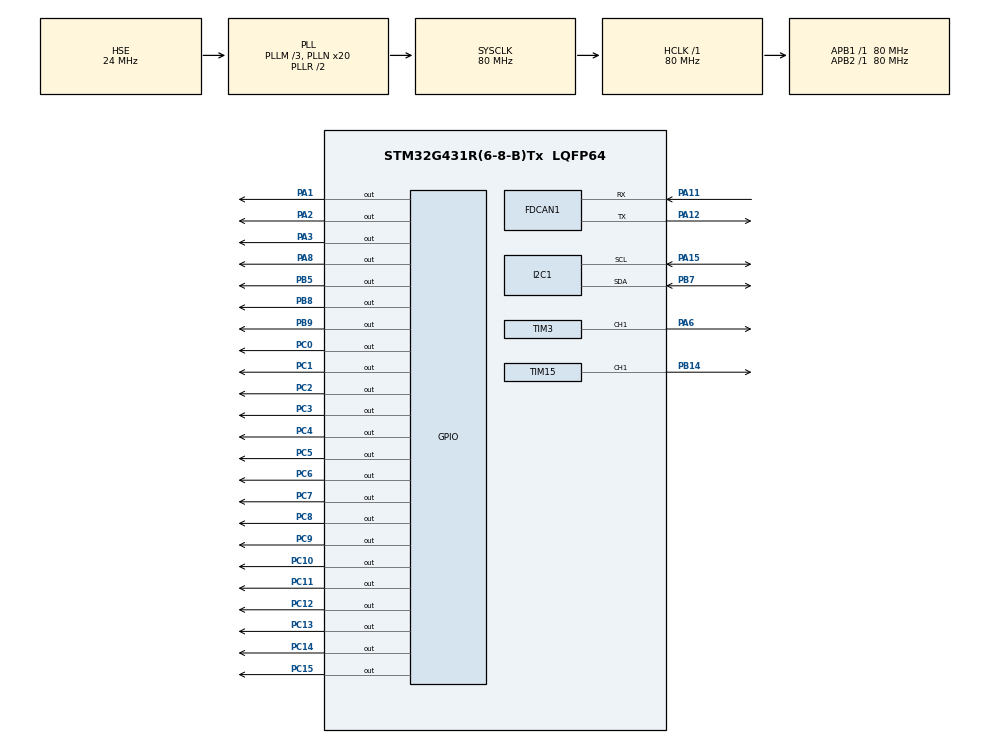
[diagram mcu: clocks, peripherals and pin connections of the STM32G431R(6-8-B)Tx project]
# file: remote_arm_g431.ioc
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FDCAN1.CalculateBaudRateNominal=125000
FDCAN1.CalculateTimeBitNominal=8000
FDCAN1.CalculateTimeQuantumNominal=200.0
FDCAN1.DataPrescaler=16
FDCAN1.DataSyncJumpWidth=10
FDCAN1.DataTimeSeg1=29
FDCAN1.DataTimeSeg2=10
FDCAN1.Mode=FDCAN_MODE_NORMAL
FDCAN1.NominalPrescaler=16
FDCAN1.NominalSyncJumpWidth=10
FDCAN1.NominalTimeSeg1=29
FDCAN1.NominalTimeSeg2=10
FDCAN1.StdFiltersNbr=1
FDCAN1.TxFifoQueueMode=FDCAN_TX_FIFO_OPERATION
FREERTOS.Queues01=mpu6050Queue,3,float,0,Dynamic,NULL,NULL
FREERTOS.Tasks01=defaultTask,0,128,StartDefaultTask,Default,NULL,Dynamic,NULL,NULL;DHT11Read,2,128,DHT11ReadEntry,Default,NULL,Dynamic,NULL,NULL;CANTask,1,128,CANTaskEntry,Default,NULL,Dynamic,NULL,NULL;ControlTask,0,128,ControlTaskEntry,Default,NULL,Dynamic,NULL,NULL
FREERTOS.configMAX_PRIORITIES=32
FREERTOS.configTOTAL_HEAP_SIZE=5120
I2C1.Timing=0x10D19CE4
Mcu.Family=STM32G4
Mcu.Name=STM32G431R(6-8-B)Tx
Mcu.Package=LQFP64
NVIC.PriorityGroup=NVIC_PRIORITYGROUP_4
NVIC.TIM1_TRG_COM_TIM17_IRQn=true\:15\:0\:false\:false\:true\:false\:false\:true\:true
NVIC.TimeBase=TIM1_TRG_COM_TIM17_IRQn
NVIC.TimeBaseIP=TIM17
PA1.Signal=GPIO_Output
PA11.Mode=FDCAN_Activate
PA11.Signal=FDCAN1_RX
PA12.Mode=FDCAN_Activate
PA12.Signal=FDCAN1_TX
PA13.Mode=Serial_Wire
PA13.Signal=SYS_JTMS-SWDIO
PA14.Mode=Serial_Wire
PA14.Signal=SYS_JTCK-SWCLK
PA15.Mode=I2C
PA15.Signal=I2C1_SCL
PA2.Signal=GPIO_Output
PA3.Signal=GPIO_Output
PA6.Signal=S_TIM3_CH1
PA8.Signal=GPIO_Output
PB14.Signal=S_TIM15_CH1
PB5.Signal=GPIO_Output
PB7.Mode=I2C
PB7.Signal=I2C1_SDA
PB8-BOOT0.Signal=GPIO_Output
PB9.Signal=GPIO_Output
PC0.Signal=GPIO_Output
PC1.Signal=GPIO_Output
PC10.Signal=GPIO_Output
PC11.Signal=GPIO_Output
PC12.Signal=GPIO_Output
PC13.Signal=GPIO_Output
PC14-OSC32_IN.Signal=GPIO_Output
PC15-OSC32_OUT.Signal=GPIO_Output
PC2.Signal=GPIO_Output
PC3.Signal=GPIO_Output
PC4.Signal=GPIO_Output
PC5.Signal=GPIO_Output
PC6.Signal=GPIO_Output
PC7.Signal=GPIO_Output
PC8.Signal=GPIO_Output
PC9.Signal=GPIO_Output
PF0-OSC_IN.Mode=HSE-External-Oscillator
PF0-OSC_IN.Signal=RCC_OSC_IN
PF1-OSC_OUT.Mode=HSE-External-Oscillator
PF1-OSC_OUT.Signal=RCC_OSC_OUT
ProjectManager.HeapSize=0x200
ProjectManager.StackSize=0x400
ProjectManager.TargetToolchain=MDK-ARM V5.32
RCC.ADC12Freq_Value=80000000
RCC.AHBFreq_Value=80000000
RCC.APB1Freq_Value=80000000
RCC.APB1TimFreq_Value=80000000
RCC.APB2Freq_Value=80000000
RCC.APB2TimFreq_Value=80000000
RCC.CortexFreq_Value=80000000
RCC.EXTERNAL_CLOCK_VALUE=12288000
RCC.HCLKFreq_Value=80000000
RCC.HSE_VALUE=24000000
RCC.HSI48_VALUE=48000000
RCC.HSI_VALUE=16000000
RCC.LSE_VALUE=32768
RCC.PLLM=RCC_PLLM_DIV3
RCC.PLLN=20
RCC.PLLSourceVirtual=RCC_PLLSOURCE_HSE
RCC.SYSCLKFreq_VALUE=80000000
RCC.SYSCLKSource=RCC_SYSCLKSOURCE_PLLCLK
RCC.USBFreq_Value=80000000
RCC.VCOOutputFreq_Value=160000000
SH.S_TIM15_CH1.0=TIM15_CH1,PWM Generation1 CH1
SH.S_TIM3_CH1.0=TIM3_CH1,PWM Generation1 CH1
TIM15.Channel-PWM\ Generation1\ CH1=TIM_CHANNEL_1
TIM15.PeriodNoDither=20000-1
TIM15.Prescaler=80-1
TIM3.Channel-PWM\ Generation1\ CH1=TIM_CHANNEL_1
TIM3.PeriodNoDither=2000-1
TIM3.Prescaler=800-1
VP_FREERTOS_VS_CMSIS_V1.Mode=CMSIS_V1
VP_SYS_VS_DBSignals.Mode=DisableDeadBatterySignals
VP_SYS_VS_tim17.Mode=TIM17
VP_TIM15_VS_ClockSourceINT.Mode=Internal
VP_TIM3_VS_ClockSourceINT.Mode=Internal
board=custom

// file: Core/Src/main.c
/* USER CODE BEGIN Header */
/**
  ******************************************************************************
  * @file           : main.c
  * @brief          : Main program body
  ******************************************************************************
  * @attention
  *
  * Copyright (c) 2025 STMicroelectronics.
  * All rights reserved.
  *
  * This software is licensed under terms that can be found in the LICENSE file
  * in the root directory of this software component.
  * If no LICENSE file comes with this software, it is provided AS-IS.
  *
  ******************************************************************************
  */
/* USER CODE END Header */
#include "main.h"
#include "cmsis_os.h"
#include "fdcan.h"
#include "i2c.h"
#include "tim.h"
#include "gpio.h"

void SystemClock_Config(void);
void MX_FREERTOS_Init(void);

/* USER CODE BEGIN 0 */
#include "lcd.h"
#include "MPU6050.h"
#include "DELAY.h"
#include "stdio.h"
#include "string.h"
#include "42Motor.h"
#include "math.h"
#define pi 3.1415
MAIN_Data main_data={0,0,{0},{0}};
MPU6050_Data mpu6050_data={0,0,0,0,0,0,0,0,0,0,0,0,0};
ANGLE_Data angle_data={0,0,0,0,0,0};
FDCAN_TX fdcan_tx={
	.hfdcan=&hfdcan1,
	.hfdcantx.IdType = FDCAN_STANDARD_ID,
	.hfdcantx.TxFrameType = FDCAN_DATA_FRAME,
	.hfdcantx.DataLength = 6,
	.hfdcantx.ErrorStateIndicator = FDCAN_ESI_ACTIVE,
	.hfdcantx.BitRateSwitch = FDCAN_BRS_OFF,
	.hfdcantx.FDFormat = FDCAN_CLASSIC_CAN,
	.hfdcantx.TxEventFifoControl = FDCAN_NO_TX_EVENTS,
	.hfdcantx.MessageMarker = 0,
	{0}
};
FDCAN_RX fdcan_rx;
uint8_t i2c_error;
void HAL_I2C_ErrorCallback(I2C_HandleTypeDef *hi2c);
uint8_t caculate(float x, float y, float z, float *ptheta)
{
	float L1 = 0.14; //杆长
	float L2 = 0.11;
	float L3 = 0.04;
	float alpha, beta, lp, Bx, By;
	Bx=x-L3; //这里设置γ为-90
	By=y;
	lp=Bx*Bx+By*By;
	if (sqrt(lp)>=L1+L2 || sqrt(lp)<=fabs(L1-L2))
		return 1;
	alpha = atan2(By,Bx);
	beta = acos((L1*L1+lp-L2*L2)/(2*L1*sqrt(lp))); //这里使用弧度制
	ptheta[0] = -(pi/2.0-alpha-beta);
	ptheta[1] = acos((L1*L1+L2*L2-lp)/(2*L1*L2))-pi;
	ptheta[2] = -ptheta[0] -ptheta[1]- pi/2.0;
	return 0;
}
/* USER CODE END 0 */

int main(void)
{

  /* MCU Configuration--------------------------------------------------------*/

  /* Reset of all peripherals, Initializes the Flash interface and the Systick. */
  HAL_Init();

  /* Configure the system clock */
  SystemClock_Config();

  /* Initialize all configured peripherals */
  MX_GPIO_Init();
  MX_I2C1_Init();
  MX_TIM15_Init();
  MX_TIM3_Init();
  MX_FDCAN1_Init();
  /* USER CODE BEGIN 2 */
  LCD_Init();
  LCD_SetBackColor(Black);
  LCD_SetTextColor(White);
  LCD_Clear(Black);
  do{
 	 main_data.ret=MPU6050_DMP_init();
	  sprintf(main_data.ch,"%d ",main_data.ret);
	  LCD_DisplayStringLine(Line0,main_data.ch);
	}while(main_data.ret);
	HAL_TIM_PWM_Start(&htim3,TIM_CHANNEL_1);
	Motoe_42Init();
	Motor_42_W_ENABLE(1);
	Motor_42_W_DIR(1);
  /* USER CODE END 2 */

  /* Call init function for freertos objects (in cmsis_os2.c) */
  MX_FREERTOS_Init();

  /* Start scheduler */
  osKernelStart();

  /* We should never get here as control is now taken by the scheduler */

  /* Infinite loop */
  while (1)
  {

    /* USER CODE BEGIN 3 */
	  MPU6050_DMP_Get_Date(&mpu6050_data.pitch,&mpu6050_data.roll,&mpu6050_data.yaw);
	/*数据校准*/
	  mpu6050_data.pitch=mpu6050_data.pitch-mpu6050_data.reset_pitch;
	  mpu6050_data.roll=mpu6050_data.roll-mpu6050_data.reset_roll;
	  mpu6050_data.yaw=mpu6050_data.yaw-mpu6050_data.reset_yaw;
	  sprintf(main_data.ch,"%.2f %.2f %.2f ",mpu6050_data.pitch,mpu6050_data.roll,mpu6050_data.yaw);
	  LCD_DisplayStringLine(Line1,main_data.ch);
	/*iic错误处理*/
	  if(HAL_I2C_GetError(&hi2c1)!=0){
		  i2c_error=HAL_I2C_GetError(&hi2c1);
	sprintf(main_data.ch,"%d ",i2c_error);
	LCD_DisplayStringLine(Line2,main_data.ch);
		  main_data.ret=0;
		  mpu6050_data.reset_pitch=mpu6050_data.pitch;
		  mpu6050_data.reset_roll=mpu6050_data.reset_roll;
		  mpu6050_data.reset_yaw=mpu6050_data.reset_yaw;
		do{
 	 main_data.ret=MPU6050_DMP_init();
	  sprintf(main_data.ch,"%d ",main_data.ret);
	  LCD_DisplayStringLine(Line0,main_data.ch);
	}while(main_data.ret);
	  }

	  /*can发送的数据*/
	mpu6050_data.x=(int16_t)(mpu6050_data.pitch*100);
	mpu6050_data.y=(int16_t)(mpu6050_data.roll*100);
	mpu6050_data.z=(int16_t)(mpu6050_data.yaw*100);

	main_data.TxData[0]=(uint8_t)((mpu6050_data.x>>8)&0xff);
	main_data.TxData[1]=(uint8_t)(mpu6050_data.x&0xff);
	main_data.TxData[2]=(uint8_t)((mpu6050_data.y>>8)&0xff);
	main_data.TxData[3]=(uint8_t)(mpu6050_data.y&0xff);
	main_data.TxData[4]=(uint8_t)((mpu6050_data.z>>8)&0xff);
	main_data.TxData[5]=(uint8_t)(mpu6050_data.z&0xff);

	fdcan_tx.hfdcantx.Identifier=0xaa;

	HAL_FDCAN_AddMessageToTxFifoQ(fdcan_tx.hfdcan,&fdcan_tx.hfdcantx,main_data.TxData);

	  angle_data.angle_pitch=150+mpu6050_data.x/100;
	  if(angle_data.angle_pitch>250){
		angle_data.angle_pitch=251;
	  }
	  if(angle_data.angle_pitch<50){
		angle_data.angle_pitch=49;
	  }
	  if(angle_data.pre_pitch!=mpu6050_data.x&&angle_data.angle_pitch!=49&&angle_data.angle_pitch!=251){
		__HAL_TIM_SetCompare(&htim3,TIM_CHANNEL_1,angle_data.angle_pitch);
	  }
	  angle_data.pre_pitch=angle_data.angle_pitch;
	if(mpu6050_data.yaw>0){
		angle_data.angle_yaw=(int16_t)(mpu6050_data.yaw/1.8);
		if(angle_data.angle_yaw!=angle_data.pre_yaw){
			if(angle_data.angle_yaw>angle_data.pre_yaw){
			Motor_42_W_DIR(0);
			for(int i=0;i<(angle_data.angle_yaw-angle_data.pre_yaw)*50;i++){
				HAL_GPIO_WritePin(GPIOA,PUL_Signal,GPIO_PIN_SET);
				DELAY_us(100);
				HAL_GPIO_WritePin(GPIOA,PUL_Signal,GPIO_PIN_RESET);
				DELAY_us(100);
			}
		}
			if(angle_data.angle_yaw<angle_data.pre_yaw){
			Motor_42_W_DIR(1);
			for(int i=0;i<(angle_data.pre_yaw-angle_data.angle_yaw)*50;i++){
				HAL_GPIO_WritePin(GPIOA,PUL_Signal,GPIO_PIN_SET);
				DELAY_us(100);
				HAL_GPIO_WritePin(GPIOA,PUL_Signal,GPIO_PIN_RESET);
				DELAY_us(100);
			}
		}
		angle_data.pre_yaw=angle_data.angle_yaw;
	}
	}
	if(mpu6050_data.yaw<0){
		angle_data.angle_yaw=-mpu6050_data.yaw;
		angle_data.angle_yaw=(int16_t)(angle_data.angle_yaw/1.8);
		if(angle_data.pre_yaw!=angle_data.angle_yaw){
			if(angle_data.angle_yaw>angle_data.pre_yaw){
			Motor_42_W_DIR(1);
			for(int i=0;i<(angle_data.angle_yaw-angle_data.pre_yaw)*50;i++){
				HAL_GPIO_WritePin(GPIOA,PUL_Signal,GPIO_PIN_SET);
				DELAY_us(100);
				HAL_GPIO_WritePin(GPIOA,PUL_Signal,GPIO_PIN_RESET);
				DELAY_us(100);
			}
		}
			if(angle_data.angle_yaw<angle_data.pre_yaw){
			Motor_42_W_DIR(0);
			for(int i=0;i<(angle_data.pre_yaw-angle_data.angle_yaw)*50;i++){
				HAL_GPIO_WritePin(GPIOA,PUL_Signal,GPIO_PIN_SET);
				DELAY_us(100);
				HAL_GPIO_WritePin(GPIOA,PUL_Signal,GPIO_PIN_RESET);
				DELAY_us(100);
			}
		}
	}
		angle_data.pre_yaw=angle_data.angle_yaw;
	}
  }
  /* USER CODE END 3 */
}

void SystemClock_Config(void)
{
  RCC_OscInitTypeDef RCC_OscInitStruct = {0};
  RCC_ClkInitTypeDef RCC_ClkInitStruct = {0};

  /** Configure the main internal regulator output voltage
  */
  HAL_PWREx_ControlVoltageScaling(PWR_REGULATOR_VOLTAGE_SCALE1);

  /** Initializes the RCC Oscillators according to the specified parameters
  * in the RCC_OscInitTypeDef structure.
  */
  RCC_OscInitStruct.OscillatorType = RCC_OSCILLATORTYPE_HSE;
  RCC_OscInitStruct.HSEState = RCC_HSE_ON;
  RCC_OscInitStruct.PLL.PLLState = RCC_PLL_ON;
  RCC_OscInitStruct.PLL.PLLSource = RCC_PLLSOURCE_HSE;
  RCC_OscInitStruct.PLL.PLLM = RCC_PLLM_DIV3;
  RCC_OscInitStruct.PLL.PLLN = 20;
  RCC_OscInitStruct.PLL.PLLP = RCC_PLLP_DIV2;
  RCC_OscInitStruct.PLL.PLLQ = RCC_PLLQ_DIV2;
  RCC_OscInitStruct.PLL.PLLR = RCC_PLLR_DIV2;
  if (HAL_RCC_OscConfig(&RCC_OscInitStruct) != HAL_OK)
  {
    Error_Handler();
  }

  /** Initializes the CPU, AHB and APB buses clocks
  */
  RCC_ClkInitStruct.ClockType = RCC_CLOCKTYPE_HCLK|RCC_CLOCKTYPE_SYSCLK
                              |RCC_CLOCKTYPE_PCLK1|RCC_CLOCKTYPE_PCLK2;
  RCC_ClkInitStruct.SYSCLKSource = RCC_SYSCLKSOURCE_PLLCLK;
  RCC_ClkInitStruct.AHBCLKDivider = RCC_SYSCLK_DIV1;
  RCC_ClkInitStruct.APB1CLKDivider = RCC_HCLK_DIV1;
  RCC_ClkInitStruct.APB2CLKDivider = RCC_HCLK_DIV1;

  if (HAL_RCC_ClockConfig(&RCC_ClkInitStruct, FLASH_LATENCY_2) != HAL_OK)
  {
    Error_Handler();
  }
}

/* USER CODE BEGIN 4 */
void HAL_I2C_ErrorCallback(I2C_HandleTypeDef *hi2c)
{
	if(hi2c->Instance==I2C1){
		main_data.i2c_error=1;
	}
}
/* USER CODE END 4 */

void HAL_TIM_PeriodElapsedCallback(TIM_HandleTypeDef *htim)
{
  if (htim->Instance == TIM17) {
    HAL_IncTick();
  }
}

void Error_Handler(void)
{
  __disable_irq();
  while (1)
  {
  }
}

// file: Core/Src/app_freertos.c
/* USER CODE BEGIN Header */
/**
  ******************************************************************************
  * File Name          : app_freertos.c
  * Description        : Code for freertos applications
  ******************************************************************************
  * @attention
  *
  * Copyright (c) 2025 STMicroelectronics.
  * All rights reserved.
  *
  * This software is licensed under terms that can be found in the LICENSE file
  * in the root directory of this software component.
  * If no LICENSE file comes with this software, it is provided AS-IS.
  *
  ******************************************************************************
  */
/* USER CODE END Header */

#include "FreeRTOS.h"
#include "task.h"
#include "main.h"
#include "cmsis_os.h"

osThreadId defaultTaskHandle;
osThreadId DHT11ReadHandle;
osThreadId CANTaskHandle;
osThreadId ControlTaskHandle;
osMessageQId mpu6050QueueHandle;

/* USER CODE BEGIN FunctionPrototypes */
#include "MPU6050.h"
#include "42Motor.h"
#include "DELAY.h"
#include "lcd.h"
#include "stdio.h"
extern TIM_HandleTypeDef htim3;
extern I2C_HandleTypeDef hi2c1;
extern FDCAN_TX fdcan_tx;
extern ANGLE_Data angle_data;
extern MPU6050_Data mpu6050_data;
extern MAIN_Data main_data;
extern FDCAN_RX fdcan_rx;
extern uint8_t i2c_error;
void HAL_I2C_ErrorCallback(I2C_HandleTypeDef *hi2c);
/* USER CODE END FunctionPrototypes */

void StartDefaultTask(void const * argument);
void DHT11ReadEntry(void const * argument);
void CANTaskEntry(void const * argument);
void ControlTaskEntry(void const * argument);

void MX_FREERTOS_Init(void); /* (MISRA C 2004 rule 8.1) */

void MX_FREERTOS_Init(void) {

  /* Create the queue(s) */
  /* definition and creation of mpu6050Queue */
  osMessageQDef(mpu6050Queue, 3, float);
  mpu6050QueueHandle = osMessageCreate(osMessageQ(mpu6050Queue), NULL);

  /* Create the thread(s) */
  /* definition and creation of defaultTask */
  osThreadDef(defaultTask, StartDefaultTask, osPriorityNormal, 0, 128);
  defaultTaskHandle = osThreadCreate(osThread(defaultTask), NULL);

  /* definition and creation of DHT11Read */
  osThreadDef(DHT11Read, DHT11ReadEntry, osPriorityHigh, 0, 128);
  DHT11ReadHandle = osThreadCreate(osThread(DHT11Read), NULL);

  /* definition and creation of CANTask */
  osThreadDef(CANTask, CANTaskEntry, osPriorityAboveNormal, 0, 128);
  CANTaskHandle = osThreadCreate(osThread(CANTask), NULL);

  /* definition and creation of ControlTask */
  osThreadDef(ControlTask, ControlTaskEntry, osPriorityNormal, 0, 128);
  ControlTaskHandle = osThreadCreate(osThread(ControlTask), NULL);

}

void StartDefaultTask(void const * argument)
{
  /* USER CODE BEGIN StartDefaultTask */
  /* Infinite loop */
  for(;;)
  {
    osDelay(100);
  }
  /* USER CODE END StartDefaultTask */
}

void DHT11ReadEntry(void const * argument)
{
  /* USER CODE BEGIN DHT11ReadEntry */
  /* Infinite loop */
  for(;;)
  {
	  if(mpu6050_data.count<3){
	  taskENTER_CRITICAL();
	MPU6050_DMP_Get_Date(&mpu6050_data.pitch,&mpu6050_data.roll,&mpu6050_data.yaw);
	  taskEXIT_CRITICAL();
	  mpu6050_data.pitch_all+=mpu6050_data.pitch;
	  mpu6050_data.roll_all+=mpu6050_data.roll;
	  mpu6050_data.yaw_all+=mpu6050_data.yaw;
	  mpu6050_data.count++;
	  }else if(mpu6050_data.count==3){
	  mpu6050_data.pitch_real=mpu6050_data.pitch_all/3;
	  mpu6050_data.roll_real=mpu6050_data.roll_all/3;
	  mpu6050_data.yaw_real=mpu6050_data.yaw_all/3;
	/*数据校准*/
	  mpu6050_data.pitch_real=mpu6050_data.pitch_real-mpu6050_data.reset_pitch;
	  mpu6050_data.roll_real=mpu6050_data.roll_real-mpu6050_data.reset_roll;
	  mpu6050_data.yaw_real=mpu6050_data.yaw_real-mpu6050_data.reset_yaw;
	  mpu6050_data.pitch_all=0;
	  mpu6050_data.roll_all=0;
	  mpu6050_data.yaw_all=0;
	  mpu6050_data.count=0;
	  }
	  sprintf(main_data.ch,"%.2f %.2f %.2f ",mpu6050_data.pitch_real,mpu6050_data.roll_real,mpu6050_data.yaw_real);
	  taskENTER_CRITICAL();
	  LCD_DisplayStringLine(Line1,main_data.ch);
	  taskEXIT_CRITICAL();
	/*iic错误处理*/
	  if(HAL_I2C_GetError(&hi2c1)!=0){
		  i2c_error=HAL_I2C_GetError(&hi2c1);
	sprintf(main_data.ch,"%d ",i2c_error);
	LCD_DisplayStringLine(Line2,main_data.ch);
		  main_data.ret=0;
		  mpu6050_data.reset_pitch=mpu6050_data.pitch_real;
		  mpu6050_data.reset_roll=mpu6050_data.roll_real;
		  mpu6050_data.reset_yaw=mpu6050_data.yaw_real;
		do{
			taskENTER_CRITICAL();
 	 main_data.ret=MPU6050_DMP_init();
			taskEXIT_CRITICAL();
	  sprintf(main_data.ch,"%d ",main_data.ret);
			taskENTER_CRITICAL();
	  LCD_DisplayStringLine(Line0,main_data.ch);
			taskEXIT_CRITICAL();
	}while(main_data.ret);
	  }

    osDelay(100);
  }
  /* USER CODE END DHT11ReadEntry */
}

void CANTaskEntry(void const * argument)
{
  /* USER CODE BEGIN CANTaskEntry */
  /* Infinite loop */
  for(;;)
  {
	/*can发送的数据*/
	mpu6050_data.x=(int16_t)(mpu6050_data.pitch_real*100);
	mpu6050_data.y=(int16_t)(mpu6050_data.roll_real*100);
	mpu6050_data.z=(int16_t)(mpu6050_data.yaw_real*100);

	main_data.TxData[0]=(uint8_t)((mpu6050_data.x>>8)&0xff);
	main_data.TxData[1]=(uint8_t)(mpu6050_data.x&0xff);
	main_data.TxData[2]=(uint8_t)((mpu6050_data.y>>8)&0xff);
	main_data.TxData[3]=(uint8_t)(mpu6050_data.y&0xff);
	main_data.TxData[4]=(uint8_t)((mpu6050_data.z>>8)&0xff);
	main_data.TxData[5]=(uint8_t)(mpu6050_data.z&0xff);

	fdcan_tx.hfdcantx.Identifier=0xaa;
	  taskENTER_CRITICAL();
	HAL_FDCAN_AddMessageToTxFifoQ(fdcan_tx.hfdcan,&fdcan_tx.hfdcantx,main_data.TxData);
	  taskEXIT_CRITICAL();
    osDelay(20);
  }
  /* USER CODE END CANTaskEntry */
}

void ControlTaskEntry(void const * argument)
{
  /* USER CODE BEGIN ControlTaskEntry */
  /* Infinite loop */
  for(;;)
  {
	angle_data.angle_pitch=150+mpu6050_data.x/100;
	  if(angle_data.angle_pitch>250){
		angle_data.angle_pitch=251;
	  }
	  if(angle_data.angle_pitch<50){
		angle_data.angle_pitch=49;
	  }
	  if(angle_data.pre_pitch!=mpu6050_data.x&&angle_data.angle_pitch!=49&&angle_data.angle_pitch!=251){
		__HAL_TIM_SetCompare(&htim3,TIM_CHANNEL_1,angle_data.angle_pitch);
	  }
	  angle_data.pre_pitch=angle_data.angle_pitch;
	if(mpu6050_data.yaw_real>0){
		angle_data.angle_yaw=(int16_t)(mpu6050_data.yaw_real/1.8);
		if(angle_data.angle_yaw!=angle_data.pre_yaw){
			if(angle_data.angle_yaw>angle_data.pre_yaw){
				taskENTER_CRITICAL();
			Motor_42_W_DIR(0);
			for(int i=0;i<(angle_data.angle_yaw-angle_data.pre_yaw)*50;i++){
				HAL_GPIO_WritePin(GPIOA,PUL_Signal,GPIO_PIN_SET);
				DELAY_us(100);
				HAL_GPIO_WritePin(GPIOA,PUL_Signal,GPIO_PIN_RESET);
				DELAY_us(100);
			}
			taskEXIT_CRITICAL();
		}
			if(angle_data.angle_yaw<angle_data.pre_yaw){
				taskENTER_CRITICAL();
			Motor_42_W_DIR(1);
			for(int i=0;i<(angle_data.pre_yaw-angle_data.angle_yaw)*50;i++){
				HAL_GPIO_WritePin(GPIOA,PUL_Signal,GPIO_PIN_SET);
				DELAY_us(100);
				HAL_GPIO_WritePin(GPIOA,PUL_Signal,GPIO_PIN_RESET);
				DELAY_us(100);
			}
			taskEXIT_CRITICAL();
		}
		angle_data.pre_yaw=angle_data.angle_yaw;
	}
	}
	if(mpu6050_data.yaw_real<0){
		angle_data.angle_yaw=-mpu6050_data.yaw_real;
		angle_data.angle_yaw=(int16_t)(angle_data.angle_yaw/1.8);
		if(angle_data.pre_yaw!=angle_data.angle_yaw){
			if(angle_data.angle_yaw>angle_data.pre_yaw){
				taskENTER_CRITICAL();
			Motor_42_W_DIR(1);
			for(int i=0;i<(angle_data.angle_yaw-angle_data.pre_yaw)*50;i++){
				HAL_GPIO_WritePin(GPIOA,PUL_Signal,GPIO_PIN_SET);
				DELAY_us(100);
				HAL_GPIO_WritePin(GPIOA,PUL_Signal,GPIO_PIN_RESET);
				DELAY_us(100);
			}
			taskEXIT_CRITICAL();
		}
			if(angle_data.angle_yaw<angle_data.pre_yaw){
				taskENTER_CRITICAL();
			Motor_42_W_DIR(0);
			for(int i=0;i<(angle_data.pre_yaw-angle_data.angle_yaw)*50;i++){
				HAL_GPIO_WritePin(GPIOA,PUL_Signal,GPIO_PIN_SET);
				DELAY_us(100);
				HAL_GPIO_WritePin(GPIOA,PUL_Signal,GPIO_PIN_RESET);
				DELAY_us(100);
			}
			taskEXIT_CRITICAL();
		}
	}
		angle_data.pre_yaw=angle_data.angle_yaw;
	}
    osDelay(50);
  }
  /* USER CODE END ControlTaskEntry */
}
